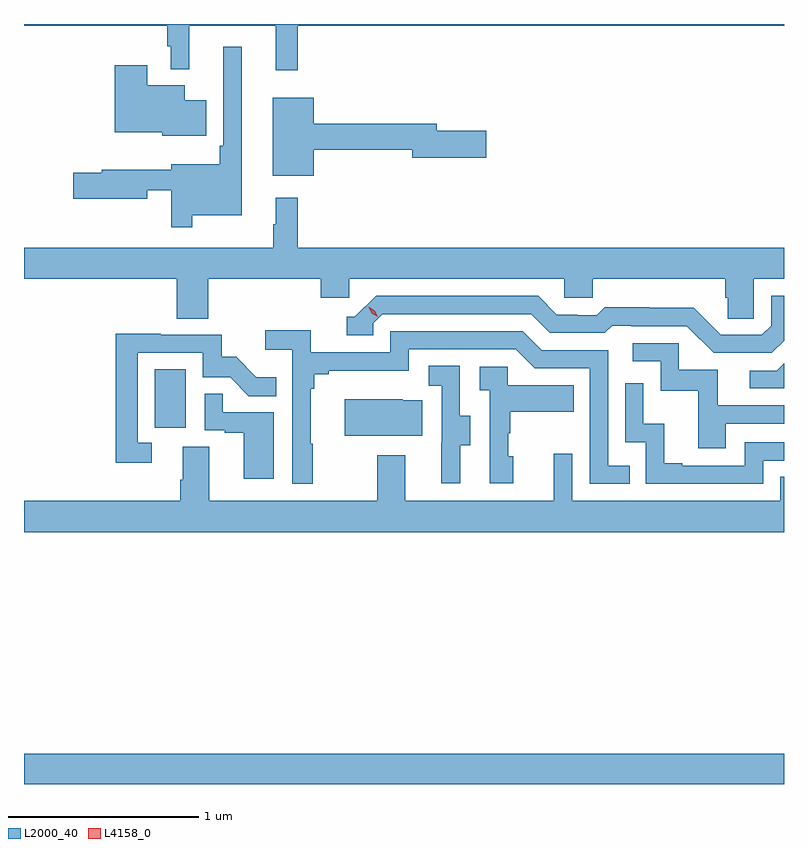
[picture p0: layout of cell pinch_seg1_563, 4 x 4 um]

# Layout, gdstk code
import gdstk
lib = gdstk.Library(unit=1e-6, precision=1e-09)
def R(c, l, rs):  # rectangles x0, y0, x1, y1
    for r in rs: c.add(gdstk.rectangle(r[:2], r[2:], *l))
def P(c, l, *ps):  # polygons
    for p in ps: c.add(gdstk.Polygon(p, *l))
L2000_40 = (2000, 40)
L4158_0 = (4158, 0)

pinch_seg1_563 = lib.new_cell('pinch_seg1_563')
R(pinch_seg1_563, L2000_40, [(1045.084,511.778,1049.084,511.936), (1045.772,513.654,1045.936,513.961)])
P(pinch_seg1_563, L2000_40, [(1046.525,515.768),(1049.084,515.768),(1049.084,515.778),(1045.084,515.778),(1045.084,515.768),(1045.837,515.768),(1045.837,515.661),(1045.857,515.661),(1045.857,515.54),(1045.955,515.54),(1045.955,515.768),(1046.408,515.768),(1046.408,515.535),(1046.525,515.535)],
  [(1045.969,514.772),(1046.23,514.772),(1046.23,515.659),(1046.133,515.659),(1046.133,515.137),(1046.113,515.137),(1046.113,515.041),(1045.859,515.041),(1045.859,515.012),(1045.493,515.012),(1045.493,514.994),(1045.344,514.994),(1045.344,514.859),(1045.732,514.859),(1045.732,514.902),(1045.86,514.902),(1045.86,514.707),(1045.969,514.707)],
  [(1046.044,515.377),(1045.93,515.377),(1045.93,515.455),(1045.732,515.455),(1045.732,515.56),(1045.562,515.56),(1045.562,515.207),(1045.812,515.207),(1045.812,515.189),(1046.044,515.189)],
  [(1046.608,515.116),(1047.128,515.116),(1047.128,515.074),(1047.517,515.074),(1047.517,515.216),(1047.256,515.216),(1047.256,515.252),(1046.608,515.252),(1046.608,515.389),(1046.393,515.389),(1046.393,514.979),(1046.608,514.979)],
  [(1046.054,514.436),(1046.645,514.436),(1046.645,514.338),(1046.796,514.338),(1046.796,514.436),(1047.927,514.436),(1047.927,514.338),(1048.077,514.338),(1048.077,514.436),(1048.775,514.436),(1048.775,514.338),(1048.789,514.338),(1048.789,514.228),(1048.926,514.228),(1048.926,514.436),(1049.084,514.436),(1049.084,514.6),(1046.525,514.6),(1046.525,514.864),(1046.408,514.864),(1046.408,514.724),(1046.397,514.724),(1046.397,514.6),(1045.084,514.6),(1045.084,514.436),(1045.889,514.436),(1045.889,514.228),(1046.054,514.228)],
  [(1049.084,514.112),(1049.084,514.347),(1049.016,514.347),(1049.016,514.191),(1048.968,514.143),(1048.752,514.143),(1048.61,514.285),(1048.374,514.285),(1048.374,514.288),(1048.141,514.288),(1048.099,514.245),(1047.996,514.245),(1047.996,514.248),(1047.889,514.248),(1047.79,514.347),(1046.937,514.347),(1046.826,514.236),(1046.783,514.236),(1046.783,514.14),(1046.922,514.14),(1046.922,514.203),(1046.97,514.251),(1047.753,514.251),(1047.852,514.152),(1048.141,514.152),(1048.18,514.191),(1048.279,514.191),(1048.279,514.188),(1048.572,514.188),(1048.713,514.047),(1049.019,514.047)],
  [(1046.605,513.569),(1046.593,513.569),(1046.593,513.857),(1046.612,513.857),(1046.612,513.934),(1046.689,513.934),(1046.689,513.953),(1047.108,513.953),(1047.108,514.065),(1047.672,514.065),(1047.771,513.966),(1048.062,513.966),(1048.062,513.357),(1048.271,513.357),(1048.271,513.453),(1048.158,513.453),(1048.158,514.062),(1047.808,514.062),(1047.709,514.161),(1047.012,514.161),(1047.012,514.05),(1046.594,514.05),(1046.594,514.166),(1046.355,514.166),(1046.355,514.064),(1046.496,514.064),(1046.496,513.357),(1046.605,513.357)],
  [(1045.756,513.573),(1045.683,513.573),(1045.683,514.047),(1046.025,514.047),(1046.025,513.918),(1046.169,513.918),(1046.267,513.82),(1046.411,513.82),(1046.411,513.919),(1046.307,513.919),(1046.2,514.026),(1046.124,514.026),(1046.124,514.143),(1045.805,514.143),(1045.805,514.148),(1045.567,514.148),(1045.567,513.468),(1045.756,513.468)],
  [(1048.777,513.675),(1049.084,513.675),(1049.084,513.771),(1048.735,513.771),(1048.735,513.957),(1048.53,513.957),(1048.53,514.098),(1048.287,514.098),(1048.287,514.002),(1048.434,514.002),(1048.434,513.849),(1048.633,513.849),(1048.633,513.546),(1048.777,513.546)],
  [(1049.084,513.992),(1049.046,513.954),(1048.905,513.954),(1048.905,513.861),(1049.084,513.861)],
  [(1047.379,513.562),(1047.433,513.562),(1047.433,513.717),(1047.378,513.717),(1047.378,513.98),(1047.213,513.98),(1047.213,513.873),(1047.282,513.873),(1047.282,513.573),(1047.281,513.573),(1047.281,513.36),(1047.379,513.36)],
  [(1047.658,513.504),(1047.633,513.504),(1047.633,513.623),(1047.643,513.623),(1047.643,513.737),(1047.977,513.737),(1047.977,513.877),(1047.63,513.877),(1047.63,513.975),(1047.483,513.975),(1047.483,513.851),(1047.534,513.851),(1047.534,513.36),(1047.658,513.36)],
  [(1048.974,513.48),(1049.084,513.48),(1049.084,513.576),(1048.878,513.576),(1048.878,513.453),(1048.549,513.453),(1048.549,513.466),(1048.454,513.466),(1048.454,513.674),(1048.344,513.674),(1048.344,513.886),(1048.248,513.886),(1048.248,513.576),(1048.356,513.576),(1048.356,513.357),(1048.974,513.357)],
  [(1046.398,513.735),(1046.129,513.735),(1046.129,513.833),(1046.034,513.833),(1046.034,513.639),(1046.141,513.639),(1046.141,513.627),(1046.24,513.627),(1046.24,513.384),(1046.398,513.384)],
  [(1047.179,513.799),(1047.077,513.799),(1047.077,513.802),(1046.771,513.802),(1046.771,513.611),(1047.179,513.611)],
  [(1049.084,513.395),(1049.064,513.395),(1049.064,513.268),(1047.969,513.268),(1047.969,513.517),(1047.872,513.517),(1047.872,513.268),(1047.091,513.268),(1047.091,513.508),(1046.944,513.508),(1046.944,513.268),(1046.059,513.268),(1046.059,513.554),(1045.919,513.554),(1045.919,513.38),(1045.907,513.38),(1045.907,513.268),(1045.084,513.268),(1045.084,513.104),(1049.084,513.104)])
P(pinch_seg1_563, L4158_0, [(1046.945,514.237),(1046.915,514.256),(1046.898,514.288),(1046.898,514.289),(1046.898,514.289),(1046.929,514.269),(1046.946,514.237),(1046.946,514.237)])

lib.write_gds('pinch_seg1_563.gds')
